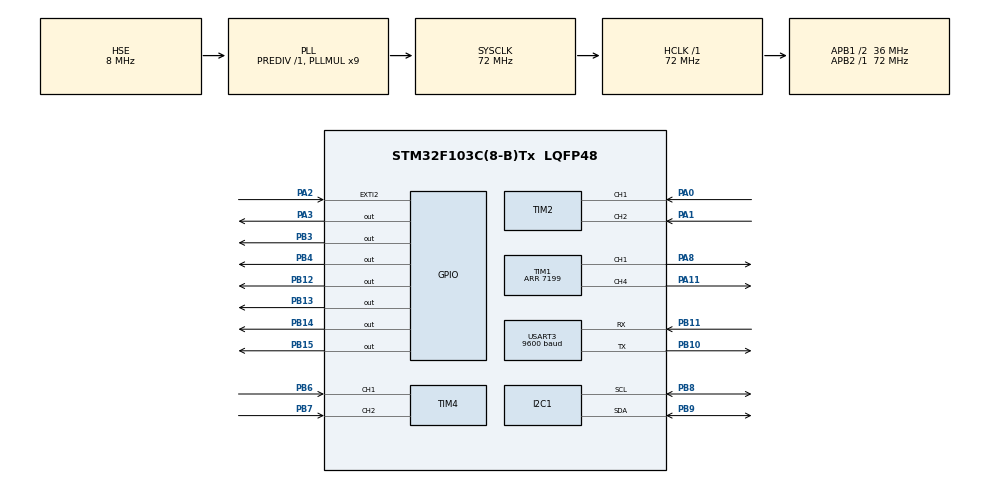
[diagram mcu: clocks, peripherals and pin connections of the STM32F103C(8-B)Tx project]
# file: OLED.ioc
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Mcu.Family=STM32F1
Mcu.Name=STM32F103C(8-B)Tx
Mcu.Package=LQFP48
NVIC.EXTI2_IRQn=true\:0\:0\:false\:false\:true\:true\:true\:true
NVIC.PriorityGroup=NVIC_PRIORITYGROUP_4
NVIC.USART3_IRQn=true\:0\:0\:false\:false\:true\:true\:true\:true
PA0-WKUP.Signal=S_TIM2_CH1_ETR
PA1.Signal=S_TIM2_CH2
PA11.Signal=S_TIM1_CH4
PA13.Mode=Serial_Wire
PA13.Signal=SYS_JTMS-SWDIO
PA14.Mode=Serial_Wire
PA14.Signal=SYS_JTCK-SWCLK
PA2.GPIO_ModeDefaultEXTI=GPIO_MODE_IT_RISING_FALLING
PA2.Signal=GPXTI2
PA3.PinState=GPIO_PIN_SET
PA3.Signal=GPIO_Output
PA8.Signal=S_TIM1_CH1
PB10.Mode=Asynchronous
PB10.Signal=USART3_TX
PB11.Mode=Asynchronous
PB11.Signal=USART3_RX
PB12.Signal=GPIO_Output
PB13.Signal=GPIO_Output
PB14.Signal=GPIO_Output
PB15.Signal=GPIO_Output
PB3.GPIO_Speed=GPIO_SPEED_FREQ_LOW
PB3.Signal=GPIO_Output
PB4.GPIO_Speed=GPIO_SPEED_FREQ_LOW
PB4.Signal=GPIO_Output
PB6.Signal=S_TIM4_CH1
PB7.Signal=S_TIM4_CH2
PB8.Mode=I2C
PB8.Signal=I2C1_SCL
PB9.Mode=I2C
PB9.Signal=I2C1_SDA
PC14-OSC32_IN.Mode=LSE-External-Oscillator
PC14-OSC32_IN.Signal=RCC_OSC32_IN
PC15-OSC32_OUT.Mode=LSE-External-Oscillator
PC15-OSC32_OUT.Signal=RCC_OSC32_OUT
PD0-OSC_IN.Mode=HSE-External-Oscillator
PD0-OSC_IN.Signal=RCC_OSC_IN
PD1-OSC_OUT.Mode=HSE-External-Oscillator
PD1-OSC_OUT.Signal=RCC_OSC_OUT
ProjectManager.HeapSize=0x200
ProjectManager.StackSize=0x400
ProjectManager.TargetToolchain=MDK-ARM V5.32
RCC.AHBFreq_Value=72000000
RCC.APB1CLKDivider=RCC_HCLK_DIV2
RCC.APB1Freq_Value=36000000
RCC.APB1TimFreq_Value=72000000
RCC.APB2Freq_Value=72000000
RCC.APB2TimFreq_Value=72000000
RCC.HCLKFreq_Value=72000000
RCC.PLLMUL=RCC_PLL_MUL9
RCC.PLLSourceVirtual=RCC_PLLSOURCE_HSE
RCC.SYSCLKFreq_VALUE=72000000
RCC.SYSCLKSource=RCC_SYSCLKSOURCE_PLLCLK
RCC.USBFreq_Value=72000000
SH.S_TIM1_CH1.0=TIM1_CH1,PWM Generation1 CH1
SH.S_TIM1_CH4.0=TIM1_CH4,PWM Generation4 CH4
SH.S_TIM2_CH1_ETR.0=TIM2_CH1,Encoder_Interface
SH.S_TIM2_CH2.0=TIM2_CH2,Encoder_Interface
SH.S_TIM4_CH1.0=TIM4_CH1,Encoder_Interface
SH.S_TIM4_CH2.0=TIM4_CH2,Encoder_Interface
TIM1.Channel-PWM\ Generation1\ CH1=TIM_CHANNEL_1
TIM1.Channel-PWM\ Generation4\ CH4=TIM_CHANNEL_4
TIM1.Period=7199
TIM1.Pulse-PWM\ Generation1\ CH1=7200
TIM2.EncoderMode=TIM_ENCODERMODE_TI12
TIM3.Prescaler=71
TIM4.EncoderMode=TIM_ENCODERMODE_TI12
USART3.BaudRate=9600
USART3.VirtualMode=VM_ASYNC
VP_TIM3_VS_ClockSourceINT.Mode=Internal
board=custom

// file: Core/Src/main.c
/* USER CODE BEGIN Header */
/**
  ******************************************************************************
  * @file           : main.c
  * @brief          : Main program body
  ******************************************************************************
  * @attention
  *
  * Copyright (c) 2024 STMicroelectronics.
  * All rights reserved.
  *
  * This software is licensed under terms that can be found in the LICENSE file
  * in the root directory of this software component.
  * If no LICENSE file comes with this software, it is provided AS-IS.
  *
  ******************************************************************************
  */
/* USER CODE END Header */
#include "main.h"
#include "gpio.h"
#include "i2c.h"
#include "tim.h"
#include "usart.h"

/* USER CODE BEGIN Includes */
#include "IIC.h"
#include "encoder.h"

#include "motor.h"
#include "oled.h"
#include "sr04.h"
#include "stdio.h"
/* USER CODE END Includes */

/* USER CODE BEGIN PV */

uint8_t display_buf[20];      // 显示缓存
uint32_t sys_tick;            // 系统时钟
extern float distance;        // 超声波距离
extern uint8_t rx_buffer[2];  // 串口接收缓存
/* USER CODE END PV */

void SystemClock_Config(void);
/* USER CODE BEGIN PFP */
void read_encoder(void);
/* USER CODE END PFP */

int main(void) {

  /* MCU Configuration--------------------------------------------------------*/

  /* Reset of all peripherals, Initializes the Flash interface and the Systick. */
  HAL_Init();

  /* Configure the system clock */
  SystemClock_Config();

  /* Initialize all configured peripherals */
  MX_GPIO_Init();
  MX_I2C1_Init();
  MX_TIM3_Init();
  MX_TIM1_Init();
  MX_TIM2_Init();
  MX_TIM4_Init();
  MX_USART3_UART_Init();
  /* USER CODE BEGIN 2 */
  OLED_Init();
  OLED_Clear();
  MPU_Init();
  mpu_dmp_init();
  OLED_ShowString(0, 0, "Init Success", 16);

  HAL_TIM_PWM_Start(&htim1, TIM_CHANNEL_1);
  HAL_TIM_PWM_Start(&htim1, TIM_CHANNEL_4);
  motor_load(0, 0);

  HAL_TIM_Encoder_Start(&htim2, TIM_CHANNEL_ALL);
  HAL_TIM_Encoder_Start(&htim4, TIM_CHANNEL_ALL);

  HAL_UART_Receive_IT(&huart3, rx_buffer, 1);                          // 开启串口接收中断，每接收到一个字节就调用一次回调函数
  HAL_UART_Transmit(&huart3, (uint8_t*)"Hello World!\r\n", 13, 1000);  // 发送数据到串口
  /* USER CODE END 2 */

  /* Infinite loop */
  /* USER CODE BEGIN WHILE */
  while (1) {
    // read_encoder();
    // sprintf((char*)display_buf, "encoder_l:%d   ", encoder_data.encoder_left);
    // HAL_UART_Transmit(&huart3, display_buf, sizeof(display_buf), 1000);
    // // OLED_ShowString(0, 2, display_buf, 16);
    // sprintf((char*)display_buf, "encoder_r:%d \r\n", encoder_data.encoder_right);
    // HAL_UART_Transmit(&huart3, display_buf, sizeof(display_buf), 1000);
    // OLED_ShowString(0, 4, display_buf, 16);

    // HAL_Delay(100);
    // mpu_dmp_get_data(&mpu_data.pitch, &mpu_data.roll, &mpu_data.yaw);

    // sprintf((char*)display_buf, "pitch:%.2f ", mpu_data.pitch);
    // HAL_UART_Transmit(&huart3, display_buf, sizeof(display_buf), 1000);
    // sprintf((char*)display_buf, "roll:%.2f  ", mpu_data.roll);
    // HAL_UART_Transmit(&huart3, display_buf, sizeof(display_buf), 1000);
    // sprintf((char*)display_buf, "yaw:%.2f\r\n", mpu_data.yaw);
    // HAL_UART_Transmit(&huart3, display_buf, sizeof(display_buf), 1000);

    // get_distance();

    // sprintf((char*)display_buf, "distance:%.2f\r\n", distance);
    // HAL_UART_Transmit(&huart3, display_buf, sizeof(display_buf), 1000);
    /* USER CODE END WHILE */

  }
}

void SystemClock_Config(void) {
  RCC_OscInitTypeDef RCC_OscInitStruct = {0};
  RCC_ClkInitTypeDef RCC_ClkInitStruct = {0};

  /** Initializes the RCC Oscillators according to the specified parameters
  * in the RCC_OscInitTypeDef structure.
  */
  RCC_OscInitStruct.OscillatorType = RCC_OSCILLATORTYPE_HSE;
  RCC_OscInitStruct.HSEState = RCC_HSE_ON;
  RCC_OscInitStruct.HSEPredivValue = RCC_HSE_PREDIV_DIV1;
  RCC_OscInitStruct.HSIState = RCC_HSI_ON;
  RCC_OscInitStruct.PLL.PLLState = RCC_PLL_ON;
  RCC_OscInitStruct.PLL.PLLSource = RCC_PLLSOURCE_HSE;
  RCC_OscInitStruct.PLL.PLLMUL = RCC_PLL_MUL9;
  if (HAL_RCC_OscConfig(&RCC_OscInitStruct) != HAL_OK) {
    Error_Handler();
  }

  /** Initializes the CPU, AHB and APB buses clocks
  */
  RCC_ClkInitStruct.ClockType = RCC_CLOCKTYPE_HCLK | RCC_CLOCKTYPE_SYSCLK | RCC_CLOCKTYPE_PCLK1 | RCC_CLOCKTYPE_PCLK2;
  RCC_ClkInitStruct.SYSCLKSource = RCC_SYSCLKSOURCE_PLLCLK;
  RCC_ClkInitStruct.AHBCLKDivider = RCC_SYSCLK_DIV1;
  RCC_ClkInitStruct.APB1CLKDivider = RCC_HCLK_DIV2;
  RCC_ClkInitStruct.APB2CLKDivider = RCC_HCLK_DIV1;

  if (HAL_RCC_ClockConfig(&RCC_ClkInitStruct, FLASH_LATENCY_2) != HAL_OK) {
    Error_Handler();
  }
}

/* USER CODE BEGIN 4 */
/*
  用系统滴答定时器延时10ms
  uwTick为系统滴答定时器的计数值
  系统滴答定时器每1ms产生一次中断，计数值递增1
*/
// void read_encoder(void) {
//   if (uwTick - sys_tick < 10) return;
//   sys_tick = uwTick;  // 更新系统时钟

//   encoder_data.encoder_left = read_speed(&htim2);
//   encoder_data.encoder_right = -read_speed(&htim4);  // 两个电机转的方向不一样
// }

/* USER CODE END 4 */

void Error_Handler(void) {
  __disable_irq();
  while (1) {
  }
}
